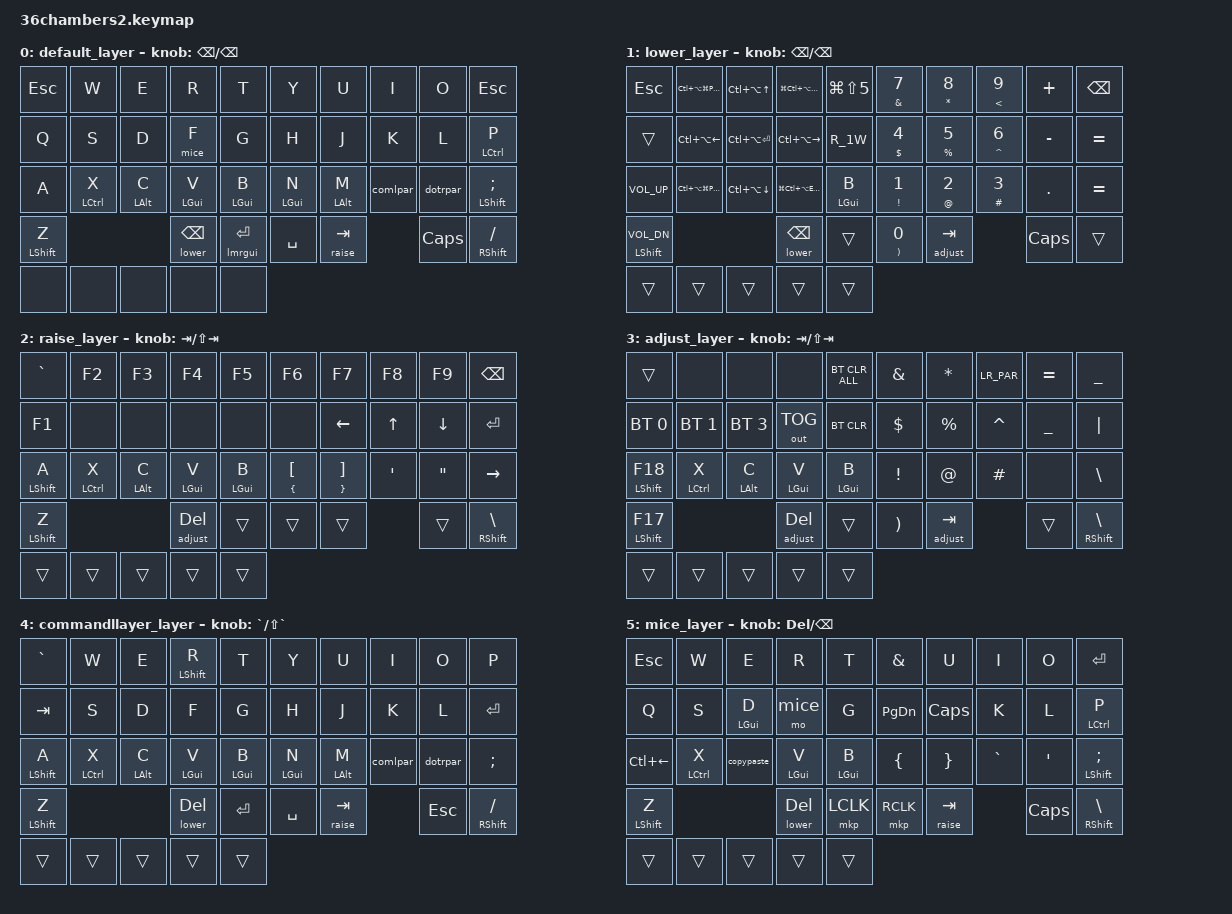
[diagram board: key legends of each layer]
/*
 * Copyright (c) 2020 The ZMK Contributors
 *
 * SPDX-License-Identifier: MIT
west build -d build/362left -p -b seeeduino_xiao_ble -- -DSHIELD=36chambers2_left
docker cp 106012d233f7ca38753557e5791bd56dadb15c480bbd2de9038b9953dab2076f:/workspaces/zmk/app/build/362left/zephyr/zmk.uf2 ~/Library/Mobile Documents/com~apple~CloudDocs/Keyboard/36firmware/36v6L_alt.uf2
docker cp root@106012d233f7:/workspaces/zmk/app/build/362left/zephyr/zmk.uf2 ~/Library/Mobile Documents/com~apple~CloudDocs/Keyboard/36firmware/36v6L_alt.uf2

west build -d build/362right -p -b seeeduino_xiao_ble -- -DSHIELD=36chambers2_right


 */

#include <behaviors.dtsi>
#include <dt-bindings/zmk/keys.h>
#include <dt-bindings/zmk/bt.h>
#include <dt-bindings/zmk/outputs.h>
#include <dt-bindings/zmk/mouse.h>

#define default 0
#define lower 1
#define raise 2
#define adjust 3
#define commandllayer 4
#define mice 5
// #define cmtoqw 6
// #define lock 7
// #define locklow 8
// #define unlock 9
// #define lockhigh 10


&mt {
    tapping-term-ms = <250>;
    flavor = "hold-preferred";
};

&lt {
    tapping-term-ms = <250>;
    flavor = "hold-preferred";
};

/ {
    macros {
        R_1W: R_1W {
            label = "R_1W";
            compatible = "zmk,behavior-macro";
            #binding-cells = <0>;
            wait-ms = <40>;
            tap-ms = <40>;
            bindings
                = <&macro_press &kp LSHFT>
                , <&macro_tap &kp S>
                , <&macro_release &kp LSHFT>
                , <&macro_tap &kp H &kp A &kp W &kp U &kp A &kp J &kp Y &kp D &kp S &kp N>
                ;
        };
        Grader1: GRDR1 {
            label = "GRDR1";
            compatible = "zmk,behavior-macro";
            #binding-cells = <0>;
            wait-ms = <40>;
            tap-ms = <40>;
            bindings
                = <&macro_tap &kp 3 &kp TAB &kp TAB
                &kp 3 &kp TAB &kp TAB
                &kp 3 &kp TAB &kp TAB
                &kp 3 &kp TAB &kp TAB
                &kp 3 &kp TAB &kp TAB
                &kp 3 &kp TAB &kp TAB
                &kp 3 &kp TAB &kp TAB
                &kp 3 &kp TAB &kp TAB
                &kp 3 &kp TAB &kp TAB
                &kp 3 &kp TAB &kp TAB &kp TAB
                &kp SPACE
                >
                ;
        };
        LR_PAR: LR_PAR {
            label = "LR_PAR";
            compatible = "zmk,behavior-macro";
            #binding-cells = <0>;
            wait-ms = <40>;
            tap-ms = <40>;
            bindings
                = <&macro_press &kp LSHFT>
                , <&macro_tap &kp N9 &kp N0>
                , <&macro_release &kp LSHFT>
                , <&macro_tap &kp LEFT>
                ;
        };
        lmrgui: lmrgui {
            label = "LAYER_MOD";
            compatible = "zmk,behavior-macro";
            wait-ms = <0>;
            tap-ms = <0>;
            #binding-cells = <0>;
            bindings
                = <&macro_press &mo commandllayer &kp RGUI>
                , <&macro_pause_for_release>
                , <&macro_release &mo commandllayer &kp RGUI>
                ;
        };
    };
};

/ {
    behaviors {
        gresc: grave_escape {
            compatible = "zmk,behavior-mod-morph";
            #binding-cells = <0>;
            bindings = <&kp ESC>, <&kp GRAVE>;
            mods = <(MOD_RGUI|MOD_LSFT|MOD_LALT|MOD_LCTL)>;
        };
        mnl: mouse_n_language {
            compatible = "zmk,behavior-hold-tap";
            label = "MOUSE_MODS";
            #binding-cells = <2>;
            tapping-term-ms = <350>;
            quick-tap-ms = <0>;
            flavor = "tap-preferred";
            bindings = <&mo>, <&kp>;
        };
        bhm: balanced_homerow_mods {
            compatible = "zmk,behavior-hold-tap";
            label = "HOMEROW_MODS";
            #binding-cells = <2>;
            tapping-term-ms = <250>;    // <---[[moderate duration]]
            quick-tap-ms = <0>;
            flavor = "balanced";
            bindings = <&kp>, <&kp>;
        };
        tns: tap_number_symbols {
            compatible = "zmk,behavior-hold-tap";
            label = "NUM_SYMBOLS";
            #binding-cells = <2>;
            tapping-term-ms = <250>;    // <---[[moderate duration]]
            quick-tap-ms = <0>;
            flavor = "tap-preferred";
            bindings = <&kp>, <&kp>;
        };//the following two go together
        comlpar: comma_parenthesis {
            compatible = "zmk,behavior-mod-morph";
            label = "COMMA_LPARENTH";
            #binding-cells = <0>;
            bindings = <&kp COMMA>, <&kp LPAR>;
            mods = <(MOD_RSFT)>;
        };
        dotrpar: dot_parenthesis {
            compatible = "zmk,behavior-mod-morph";
            label = "DOT_RPARENTH";
            #binding-cells = <0>;
            bindings = <&kp DOT>, <&kp RPAR>;
            mods = <(MOD_RSFT)>;
        };//the following two go together        
        comlrpar: comma_parentheses {
            compatible = "zmk,behavior-mod-morph";
            label = "COMMA_BOTHPARENTH";
            #binding-cells = <0>;
            bindings = <&kp COMMA>, <&LR_PAR>;
            mods = <(MOD_RSFT)>;
        };
        dotqmark: dot_qmark {
            compatible = "zmk,behavior-mod-morph";
            label = "DOT_QMARK";
            #binding-cells = <0>;
            bindings = <&kp DOT>, <&kp QMARK>;
            mods = <(MOD_RSFT)>;
        };
        qtab: q_cmdandtab {
            compatible = "zmk,behavior-mod-morph";
            label = "Q_CMDANDTAB";
            #binding-cells = <0>;
            bindings = <&kp Q>, <&kp LG(TAB)>;
            mods = <(MOD_LGUI)>;
        };
        tabgui: tabandgui {
            compatible = "zmk,behavior-hold-tap";
            label = "TAB_GUI";
            #binding-cells = <2>;
            flavor = "hold-preferred";
            tapping-term-ms = <200>;
            quick-tap-ms = <125>;
            global-quick-tap;
            bindings = <&lmrgui>, <&kp>;
        };
        copypaste: copypaste {
            compatible = "zmk,behavior-tap-dance";
            #binding-cells = <0>;
            tapping-term-ms = <200>;
            bindings = <&kp LG(C)>, <&kp LG(V)>, <&kp LG(V)>;
        };
        td_mt_bspc: tap_dance_layer_tap {
            compatible = "zmk,behavior-tap-dance";
            #binding-cells = <0>;
            tapping-term-ms = <150>;
            bindings = <&lt lower BSPC>, <&kp BSPC>;
        };
        qlt: quick_layer_tap {
            compatible = "zmk,behavior-hold-tap";
            #binding-cells = <2>;
            tapping-term-ms = <200>;
            quick-tap-ms = <200>;
            flavor = "hold-preferred";
            bindings = <&mo>, <&kp>;
        };
    };

};

/ {
    keymap {
        compatible = "zmk,keymap";

/* default
 * ,----------------------------------.        ,----------------------------------.
 * |  TAB |   W  |   E  |   R  |   T  |        |   Y  |   U  |   I  |   O  |   P  |
 * |------+------+------+------+------|        |------+------+------+------+------|
 * |   Q  |   S  |   D  |   F  |   G  |        |   H  |   J  |   K  |   L  | Enter|             
 * |------+------+------+------+------|        |------+------+------+------+------|
 * |   A  |   X  |   C  |   V  |   B  |        |   N  |   M  |   ,  |   .  |   ;  |
 * `-------------+------+------+------|        |------+------+------+-------------'
 * |   Z  |      |  NAV | Lower| BSPC |        |Space | raise| Caps |      |   /  |
 *  ------       `--------------------'        `--------------------'       ------' 
 */

//&trans &trans &trans &trans &trans  &trans &trans &trans &trans &trans
//&trans &trans &trans &trans &trans  &trans &trans &trans &trans &trans
//&trans &trans &trans &trans &trans  &trans &trans &trans &trans &trans
//&trans        &trans &trans &trans  &trans &trans &trans        &trans
        default_layer {

                        bindings = <
    &kp ESC        &kp W        &kp E        &kp R        &kp T       &kp Y       &kp U       &kp I       &kp O     &kp ESC
    &kp Q          &kp S        &kp D        &mnl mice F  &kp G       &kp H       &kp J       &kp K       &kp L    &bhm LCTL P
    &kp A          &bhm LCTRL X &bhm LALT C  &bhm LGUI V  &bhm LGUI B &bhm LGUI N &bhm LALT M &comlpar    &dotrpar  &bhm LSHFT SEMI      
    &bhm LSHFT Z                             &qlt lower BSPC &tabgui 0 RET  &kp SPACE   &lt raise TAB  &kp CAPS &mt RSHFT FSLH
    &none &none &none &none &none    
                >;
            sensor-bindings = <&inc_dec_kp BSPC BSPC>;
        };

//         Colemak_layer {
// /* Colemak
// */                 
//                         bindings = <
//     &kp ESC        &kp W        &kp F        &kp P        &kp G       &kp J       &kp L       &kp U       &kp Y    &kp ESC
//     &kp Q          &kp R        &kp S        &kp T        &kp D       &kp H       &kp N       &kp E       &kp I    &kp SEMI
//     &kp A          &kp X        &kp C        &kp V        &kp B       &kp K       &kp M       &kp COMMA   &kp DOT  &kp O      
//     &kp Z          &kp BSPC &lt lower ESC &tabgui 0 RET  &kp SPACE   &lt raise TAB  &kp CAPS &mt RSHFT FSLH
//                 >;
//             sensor-bindings = <&inc_dec_kp ESC ESC>;
//         };
        lower_layer {
/* lower
*/                 
                        bindings = <
    &kp ESC       &kp LC(LA(LG(PG_UP)))    &kp LC(LA(UP))   &kp LG(LC(LA(HOME)))      &kp LG(LS(N5))   &tns AMPS N7 &tns ASTRK N8 &tns LT N9 &kp PLUS  &kp BSPC 
    &trans       &kp LC(LA(LEFT)) &kp LC(LA(RET))  &kp LC(LA(RIGHT))    &R_1W            &tns DLLR N4 &tns PRCNT N5 &tns CARET N6 &kp MINUS &kp EQUAL
    &kp C_VOL_UP &kp LC(LA(LG(PG_DN)))    &kp LC(LA(DOWN)) &kp LG(LC(LA(END)))  &bhm LGUI B      &tns EXCL N1 &tns AT N2    &tns POUND N3 &kp DOT &kp EQUAL
    &bhm LSHFT C_VOL_DN            &qlt lower BSPC &trans                         &tns RPAR N0 &lt adjust TAB &kp CAPS             &trans
    &trans &trans &trans &trans &trans
                >;
            sensor-bindings = <&inc_dec_kp BSPC BSPC>;
        };
        raise_layer {
/* raise
*/                        bindings = <
    &kp GRAVE       &kp F2       &kp F3      &kp F4       &kp F5      &kp F6  &kp F7   &kp F8   &kp F9   &kp BSPC
    &kp F1       &none        &none       &none        &none       &none   &kp LEFT &kp UP   &kp DOWN &kp RET
    &bhm LSHFT A &bhm LCTRL X &bhm LALT C &bhm LGUI V  &bhm LGUI B  &tns LBRC LBKT &tns RBRC RBKT &kp SQT &kp DQT &kp RIGHT
    &bhm LSHFT Z                &qlt adjust DEL &trans  &trans &trans &trans                     &mt RSHFT BSLH
    &trans &trans &trans &trans &trans
                >;
            sensor-bindings = <&inc_dec_kp TAB LS(TAB)>;
        };
        adjust_layer {
/* adjust
 */
                        bindings = <
    &trans       &none        &none        &none        &bt BT_CLR_ALL     &kp AMPS &kp ASTRK &LR_PAR  &kp EQUAL &kp UNDER
    &bt BT_SEL 0 &bt BT_SEL 1 &bt BT_SEL 3 &out OUT_TOG &bt BT_CLR   &kp DLLR &kp PRCNT &kp CARET &kp UNDER &kp PIPE
    &bhm LSHFT F18 &bhm LCTRL X &bhm LALT C  &bhm LGUI V  &bhm LGUI B &kp EXCL &kp AT    &kp POUND &none &kp BSLH
    &bhm LSHFT F17              &qlt adjust DEL &trans   &kp RPAR &lt adjust TAB &trans &mt RSHFT BSLH
    &trans &trans &trans &trans &trans
                >;
            sensor-bindings = <&inc_dec_kp TAB LS(TAB)>;
        };
        commandllayer_layer {
/* commandllayer
 */
                        bindings = <
    &kp GRAVE        &kp W        &kp E        &bhm LSHFT R        &kp T       &kp Y       &kp U       &kp I    &kp O    &kp P
    &kp TAB      &kp S        &kp D        &kp F        &kp G       &kp H       &kp J       &kp K    &kp L    &kp RET
    &bhm LSHFT A   &bhm LCTRL X &bhm LALT C  &bhm LGUI V  &bhm LGUI B &bhm LGUI N &bhm LALT M &comlpar &dotrpar &kp SEMI
    &bhm LSHFT Z                 &qlt lower DEL &kp RET     &kp SPACE   &lt raise TAB  &kp ESC &mt RSHFT FSLH
    &trans &trans &trans &trans &trans
                >;
            sensor-bindings = <&inc_dec_kp GRAVE LS(GRAVE)>;
        };
        mice_layer {
/* mice
 */
                        bindings = <
    &kp ESC        &kp W        &kp E        &kp R        &kp T       &kp AMPS    &kp U       &kp I           &kp O     &kp RET
    &kp Q          &kp S        &bhm LGUI D  &mo mice     &kp G       &kp PG_DN     &kp CAPS       &kp K           &kp L    &bhm LCTL P
    &kp LC(LEFT)   &bhm LCTRL X &copypaste  &bhm LGUI V  &bhm LGUI B &kp LBRC &kp RBRC &kp GRAVE &kp SQT  &bhm LSHFT SEMI      
    &bhm LSHFT Z                &qlt lower DEL &mkp LCLK     &mkp RCLK   &lt raise TAB  &kp CAPS         &mt RSHFT BSLH
    &trans &trans &trans &trans &trans
                >;
            sensor-bindings = <&inc_dec_kp DEL BSPC>;
        };
//         lock_layer {
// /* lock for locking keyboard when moving
//  */
//                         bindings = <
//     &none &none &none &none &none  &none &none &none &none &none
//     &none &none &none &none &none  &none &none &none &none &none
//     &none &none &none &none &none  &none &none &none &none &none
//     &none       &none &mo locklow  &none  &none &none &none        &none
//                 >;
//             sensor-bindings = <&inc_dec_kp Q Q>;
//         };
//         locklow_layer {
// /* locklow
//  */
//                         bindings = <
//     &none &none &none &none &none  &none &none &none &none &none
//     &mo unlock &none &none &none &none  &none &none &none &none &none
//     &none &none &none &none &none  &none &none &none &none &none
//     &none &none &mo locklow  &none  &none &none &none       &none
//                 >;
//             sensor-bindings = <&inc_dec_kp Q Q>;
//         };
//                 lockhigh_layer {
// /* lockhigh
//  */
//                         bindings = <
//     &none &none &none &none &none  &none &none &none &none &none
//     &none &none &none &none &none  &none &none &none &none &none
//     &none &none &none &none &none  &none &none &none &none &none
//     &none        &mo unlock &none &none  &none &mo lockhigh &none        &none
//                 >;
//             sensor-bindings = <&inc_dec_kp Q Q>;
//         };
//         unlock_layer {
// /* unlock
//  */
//                         bindings = <
//     &none &none &none &none &to default &none &none &none &none &none
//     &mo unlock &none &none &none        &none &none &none &none &none &none
//     &none &none &none &none &none       &none &none &none &none &none
//     &none       &none &mo unlock &none &none &none       &none
//                 >;
//             sensor-bindings = <&inc_dec_kp Q Q>;
//         };
//         cmtoqw_layer {
// /* Colemak input to qwerty
// */                 
//                         bindings = <
//     &kp ESC        &kp W        &kp K        &kp S       &kp F       &kp O       &kp I       &kp L       &kp SEMI    &kp ESC
//     &kp Q          &kp P        &kp G        &kp E       &kp T       &kp H       &kp Y       &kp N       &kp U    &kp R
//     &kp A          &kp X        &kp C        &kp V       &kp B       &kp J       &kp M       &kp COMMA   &kp DOT  &kp O      
//     &kp Z          &kp BSPC &lt lower DEL &tabgui 0 RET  &kp SPACE   &lt raise TAB  &kp CAPS &mt RSHFT FSLH
//     &trans &trans &trans &trans &trans
//                 >;
//             sensor-bindings = <&inc_dec_kp ESC ESC>;
//         };
    };
};
